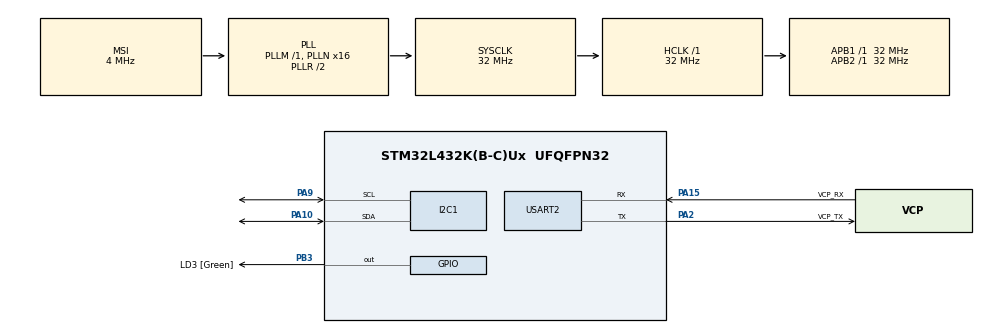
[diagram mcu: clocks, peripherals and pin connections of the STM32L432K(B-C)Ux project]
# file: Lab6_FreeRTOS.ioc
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FREERTOS.Tasks01=TimeDisplayTask,0,256,start_TimeDisplayTask,Default,NULL,Dynamic,NULL,NULL;TempDisplayTask,0,256,start_TempDisplayTask,Default,NULL,Dynamic,NULL,NULL
I2C1.Timing=0x00707CBB
Mcu.Family=STM32L4
Mcu.Name=STM32L432K(B-C)Ux
Mcu.Package=UFQFPN32
NVIC.PriorityGroup=NVIC_PRIORITYGROUP_4
NVIC.TIM1_UP_TIM16_IRQn=true\:15\:0\:false\:false\:true\:false\:false\:true\:true
NVIC.TimeBase=TIM1_UP_TIM16_IRQn
NVIC.TimeBaseIP=TIM1
NVIC.USART2_IRQn=true\:5\:0\:false\:false\:true\:true\:true\:true\:true
PA0.GPIO_Label=MCO [High speed clock in]
PA0.Signal=RCC_CK_IN
PA10.Mode=I2C
PA10.Signal=I2C1_SDA
PA13\ (JTMS-SWDIO).GPIO_Label=SWDIO
PA13\ (JTMS-SWDIO).Mode=Serial_Wire
PA13\ (JTMS-SWDIO).Signal=SYS_JTMS-SWDIO
PA14\ (JTCK-SWCLK).GPIO_Label=SWCLK
PA14\ (JTCK-SWCLK).Mode=Serial_Wire
PA14\ (JTCK-SWCLK).Signal=SYS_JTCK-SWCLK
PA15\ (JTDI).GPIO_Label=VCP_RX
PA15\ (JTDI).Mode=Asynchronous
PA15\ (JTDI).Signal=USART2_RX
PA2.GPIO_Label=VCP_TX
PA2.Mode=Asynchronous
PA2.Signal=USART2_TX
PA9.Mode=I2C
PA9.Signal=I2C1_SCL
PB3\ (JTDO-TRACESWO).GPIO_Label=LD3 [Green]
PB3\ (JTDO-TRACESWO).Signal=GPIO_Output
PC14-OSC32_IN\ (PC14).Mode=LSE-External-Oscillator
PC14-OSC32_IN\ (PC14).Signal=RCC_OSC32_IN
PC15-OSC32_OUT\ (PC15).Mode=LSE-External-Oscillator
PC15-OSC32_OUT\ (PC15).Signal=RCC_OSC32_OUT
ProjectManager.HeapSize=0x200
ProjectManager.StackSize=0x400
ProjectManager.TargetToolchain=MDK-ARM V5.32
RCC.AHBFreq_Value=32000000
RCC.APB1Freq_Value=32000000
RCC.APB1TimFreq_Value=32000000
RCC.APB2Freq_Value=32000000
RCC.APB2TimFreq_Value=32000000
RCC.CortexFreq_Value=32000000
RCC.HCLKFreq_Value=32000000
RCC.HSE_VALUE=8000000
RCC.HSI16_VALUE=16000000
RCC.HSI48_VALUE=48000000
RCC.HSI_VALUE=16000000
RCC.MSI_VALUE=4000000
RCC.PLLMUL=RCC_PLLMUL_4
RCC.PLLN=16
RCC.SYSCLKFreq_VALUE=32000000
RCC.SYSCLKSource=RCC_SYSCLKSOURCE_PLLCLK
RCC.VCOOutputFreq_Value=64000000
USART2.VirtualMode-Asynchronous=VM_ASYNC
VP_FREERTOS_VS_CMSIS_V1.Mode=CMSIS_V1
VP_SYS_VS_tim1.Mode=TIM1
board=NUCLEO-L432KC

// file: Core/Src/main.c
/* USER CODE BEGIN Header */
/**
  ******************************************************************************
  * @file           : main.c
  * @brief          : Main program body
  ******************************************************************************
  * @attention
  *
  * Copyright (c) 2025 STMicroelectronics.
  * All rights reserved.
  *
  * This software is licensed under terms that can be found in the LICENSE file
  * in the root directory of this software component.
  * If no LICENSE file comes with this software, it is provided AS-IS.
  *
  ******************************************************************************
  */
/* USER CODE END Header */
#include "main.h"
#include "cmsis_os.h"

/* USER CODE BEGIN Includes */
#include <stdio.h>
#include <string.h>
/* USER CODE END Includes */

/* USER CODE BEGIN PM */
// I2C address definitions
#define RTC_ADDR_WRITE 0xD0
#define RTC_ADDR_READ  0xD1

// RTC Register addresses
#define RTC_SECONDS_REG    0x00
#define RTC_MINUTES_REG    0x01
#define RTC_HOURS_REG      0x02
#define RTC_TEMP_MSB_REG   0x11
#define RTC_TEMP_LSB_REG   0x12

/* USER CODE END PM */

I2C_HandleTypeDef hi2c1;

UART_HandleTypeDef huart2;

osThreadId TimeDisplayTaskHandle;
osThreadId TempDisplayTaskHandle;
/* USER CODE BEGIN PV */
osMutexId uart_mutexHandle;  // Mutex for UART protection

// RTC time buffers
uint8_t secbuffer[2], minbuffer[2], hourbuffer[2];

// Temperature buffers
uint8_t temp_msb_buffer[2];
uint8_t temp_lsb_buffer[2];

// UART formatting buffers
char time_uart_buf[50];
char temp_uart_buf[50];

/* USER CODE END PV */

void SystemClock_Config(void);
static void MX_GPIO_Init(void);
static void MX_USART2_UART_Init(void);
static void MX_I2C1_Init(void);
void start_TimeDisplayTask(void const * argument);
void start_TempDisplayTask(void const * argument);

/* USER CODE BEGIN 0 */

// Check if RTC is ready
void RTC_Init(void)
{
    if (HAL_I2C_IsDeviceReady(&hi2c1, RTC_ADDR_WRITE, 10, HAL_MAX_DELAY) == HAL_OK)
    {
        // RTC detected - blink LED to indicate
        for (int i = 0; i < 6; i++)
        {
            HAL_GPIO_TogglePin(LD3_GPIO_Port, LD3_Pin);
            HAL_Delay(200);
        }
    }
}

// Set RTC time (24h format, BCD)
void RTC_SetTime(uint8_t hour, uint8_t minute, uint8_t second)
{
    uint8_t txBuf[2];

    // Set seconds
    txBuf[0] = RTC_SECONDS_REG;
    txBuf[1] = second;
    HAL_I2C_Master_Transmit(&hi2c1, RTC_ADDR_WRITE, txBuf, 2, 10);

    // Set minutes
    txBuf[0] = RTC_MINUTES_REG;
    txBuf[1] = minute;
    HAL_I2C_Master_Transmit(&hi2c1, RTC_ADDR_WRITE, txBuf, 2, 10);

    // Set hours (24h format)
    txBuf[0] = RTC_HOURS_REG;
    txBuf[1] = hour;
    HAL_I2C_Master_Transmit(&hi2c1, RTC_ADDR_WRITE, txBuf, 2, 10);
}

// Read RTC time
void RTC_ReadTime(void)
{
    // Read seconds
    secbuffer[0] = RTC_SECONDS_REG;
    HAL_I2C_Master_Transmit(&hi2c1, RTC_ADDR_WRITE, secbuffer, 1, 10);
    HAL_I2C_Master_Receive(&hi2c1, RTC_ADDR_READ, secbuffer + 1, 1, 10);

    // Read minutes
    minbuffer[0] = RTC_MINUTES_REG;
    HAL_I2C_Master_Transmit(&hi2c1, RTC_ADDR_WRITE, minbuffer, 1, 10);
    HAL_I2C_Master_Receive(&hi2c1, RTC_ADDR_READ, minbuffer + 1, 1, 10);

    // Read hours
    hourbuffer[0] = RTC_HOURS_REG;
    HAL_I2C_Master_Transmit(&hi2c1, RTC_ADDR_WRITE, hourbuffer, 1, 10);
    HAL_I2C_Master_Receive(&hi2c1, RTC_ADDR_READ, hourbuffer + 1, 1, 10);

    // Mask to 24h format
    hourbuffer[1] &= 0x3F;
}

// Read DS3231 temperature (10-bit resolution)
float RTC_ReadTemperature(void)
{
    int8_t temp_msb;
    uint8_t temp_lsb;
    float temperature;

    // Read MSB (register 0x11) - integer part, 2's complement
    temp_msb_buffer[0] = RTC_TEMP_MSB_REG;
    HAL_I2C_Master_Transmit(&hi2c1, RTC_ADDR_WRITE, temp_msb_buffer, 1, 10);
    HAL_I2C_Master_Receive(&hi2c1, RTC_ADDR_READ, temp_msb_buffer + 1, 1, 10);
    temp_msb = (int8_t)temp_msb_buffer[1];

    // Read LSB (register 0x12) - fractional part (upper 2 bits)
    temp_lsb_buffer[0] = RTC_TEMP_LSB_REG;
    HAL_I2C_Master_Transmit(&hi2c1, RTC_ADDR_WRITE, temp_lsb_buffer, 1, 10);
    HAL_I2C_Master_Receive(&hi2c1, RTC_ADDR_READ, temp_lsb_buffer + 1, 1, 10);
    temp_lsb = temp_lsb_buffer[1];

    // Combine: integer part + (fractional >> 6) * 0.25
    // Upper 2 bits of LSB represent 0.25°C increments
    temperature = (float)temp_msb + ((temp_lsb >> 6) * 0.25f);

    return temperature;
}

/* USER CODE END 0 */

int main(void)
{

  /* MCU Configuration--------------------------------------------------------*/

  /* Reset of all peripherals, Initializes the Flash interface and the Systick. */
  HAL_Init();

  /* Configure the system clock */
  SystemClock_Config();

  /* Initialize all configured peripherals */
  MX_GPIO_Init();
  MX_USART2_UART_Init();
  MX_I2C1_Init();
  /* USER CODE BEGIN 2 */

  // Initialize RTC and set initial time
  RTC_Init();

  // Set time to 14:30:00 (2:30 PM in 24h format)
  // 0x14 = 14 hours, 0x30 = 30 minutes, 0x00 = 0 seconds (BCD format)
  RTC_SetTime(0x14, 0x30, 0x00);

  /* USER CODE END 2 */

  /* USER CODE BEGIN RTOS_MUTEX */
  // Create mutex for UART protection
  osMutexDef(uart_mutex);
  uart_mutexHandle = osMutexCreate(osMutex(uart_mutex));
  /* USER CODE END RTOS_MUTEX */

  /* Create the thread(s) */
  /* definition and creation of TimeDisplayTask */
  osThreadDef(TimeDisplayTask, start_TimeDisplayTask, osPriorityNormal, 0, 256);
  TimeDisplayTaskHandle = osThreadCreate(osThread(TimeDisplayTask), NULL);

  /* definition and creation of TempDisplayTask */
  osThreadDef(TempDisplayTask, start_TempDisplayTask, osPriorityNormal, 0, 256);
  TempDisplayTaskHandle = osThreadCreate(osThread(TempDisplayTask), NULL);

  /* Start scheduler */
  osKernelStart();
  /* We should never get here as control is now taken by the scheduler */
  /* Infinite loop */
  while (1)
  {

  }
}

void SystemClock_Config(void)
{
  RCC_OscInitTypeDef RCC_OscInitStruct = {0};
  RCC_ClkInitTypeDef RCC_ClkInitStruct = {0};

  /** Configure the main internal regulator output voltage
  */
  if (HAL_PWREx_ControlVoltageScaling(PWR_REGULATOR_VOLTAGE_SCALE1) != HAL_OK)
  {
    Error_Handler();
  }

  /** Configure LSE Drive Capability
  */
  HAL_PWR_EnableBkUpAccess();
  __HAL_RCC_LSEDRIVE_CONFIG(RCC_LSEDRIVE_LOW);

  /** Initializes the RCC Oscillators according to the specified parameters
  * in the RCC_OscInitTypeDef structure.
  */
  RCC_OscInitStruct.OscillatorType = RCC_OSCILLATORTYPE_LSE|RCC_OSCILLATORTYPE_MSI;
  RCC_OscInitStruct.LSEState = RCC_LSE_ON;
  RCC_OscInitStruct.MSIState = RCC_MSI_ON;
  RCC_OscInitStruct.MSICalibrationValue = 0;
  RCC_OscInitStruct.MSIClockRange = RCC_MSIRANGE_6;
  RCC_OscInitStruct.PLL.PLLState = RCC_PLL_ON;
  RCC_OscInitStruct.PLL.PLLSource = RCC_PLLSOURCE_MSI;
  RCC_OscInitStruct.PLL.PLLM = 1;
  RCC_OscInitStruct.PLL.PLLN = 16;
  RCC_OscInitStruct.PLL.PLLP = RCC_PLLP_DIV7;
  RCC_OscInitStruct.PLL.PLLQ = RCC_PLLQ_DIV2;
  RCC_OscInitStruct.PLL.PLLR = RCC_PLLR_DIV2;
  if (HAL_RCC_OscConfig(&RCC_OscInitStruct) != HAL_OK)
  {
    Error_Handler();
  }

  /** Initializes the CPU, AHB and APB buses clocks
  */
  RCC_ClkInitStruct.ClockType = RCC_CLOCKTYPE_HCLK|RCC_CLOCKTYPE_SYSCLK
                              |RCC_CLOCKTYPE_PCLK1|RCC_CLOCKTYPE_PCLK2;
  RCC_ClkInitStruct.SYSCLKSource = RCC_SYSCLKSOURCE_PLLCLK;
  RCC_ClkInitStruct.AHBCLKDivider = RCC_SYSCLK_DIV1;
  RCC_ClkInitStruct.APB1CLKDivider = RCC_HCLK_DIV1;
  RCC_ClkInitStruct.APB2CLKDivider = RCC_HCLK_DIV1;

  if (HAL_RCC_ClockConfig(&RCC_ClkInitStruct, FLASH_LATENCY_1) != HAL_OK)
  {
    Error_Handler();
  }

  /** Enable MSI Auto calibration
  */
  HAL_RCCEx_EnableMSIPLLMode();
}

static void MX_I2C1_Init(void)
{

  hi2c1.Instance = I2C1;
  hi2c1.Init.Timing = 0x00707CBB;
  hi2c1.Init.OwnAddress1 = 0;
  hi2c1.Init.AddressingMode = I2C_ADDRESSINGMODE_7BIT;
  hi2c1.Init.DualAddressMode = I2C_DUALADDRESS_DISABLE;
  hi2c1.Init.OwnAddress2 = 0;
  hi2c1.Init.OwnAddress2Masks = I2C_OA2_NOMASK;
  hi2c1.Init.GeneralCallMode = I2C_GENERALCALL_DISABLE;
  hi2c1.Init.NoStretchMode = I2C_NOSTRETCH_DISABLE;
  if (HAL_I2C_Init(&hi2c1) != HAL_OK)
  {
    Error_Handler();
  }

  /** Configure Analogue filter
  */
  if (HAL_I2CEx_ConfigAnalogFilter(&hi2c1, I2C_ANALOGFILTER_ENABLE) != HAL_OK)
  {
    Error_Handler();
  }

  /** Configure Digital filter
  */
  if (HAL_I2CEx_ConfigDigitalFilter(&hi2c1, 0) != HAL_OK)
  {
    Error_Handler();
  }

}

static void MX_USART2_UART_Init(void)
{

  huart2.Instance = USART2;
  huart2.Init.BaudRate = 115200;
  huart2.Init.WordLength = UART_WORDLENGTH_8B;
  huart2.Init.StopBits = UART_STOPBITS_1;
  huart2.Init.Parity = UART_PARITY_NONE;
  huart2.Init.Mode = UART_MODE_TX_RX;
  huart2.Init.HwFlowCtl = UART_HWCONTROL_NONE;
  huart2.Init.OverSampling = UART_OVERSAMPLING_16;
  huart2.Init.OneBitSampling = UART_ONE_BIT_SAMPLE_DISABLE;
  huart2.AdvancedInit.AdvFeatureInit = UART_ADVFEATURE_NO_INIT;
  if (HAL_UART_Init(&huart2) != HAL_OK)
  {
    Error_Handler();
  }

}

static void MX_GPIO_Init(void)
{
  GPIO_InitTypeDef GPIO_InitStruct = {0};

  /* GPIO Ports Clock Enable */
  __HAL_RCC_GPIOC_CLK_ENABLE();
  __HAL_RCC_GPIOA_CLK_ENABLE();
  __HAL_RCC_GPIOB_CLK_ENABLE();

  /*Configure GPIO pin Output Level */
  HAL_GPIO_WritePin(LD3_GPIO_Port, LD3_Pin, GPIO_PIN_RESET);

  /*Configure GPIO pin : LD3_Pin */
  GPIO_InitStruct.Pin = LD3_Pin;
  GPIO_InitStruct.Mode = GPIO_MODE_OUTPUT_PP;
  GPIO_InitStruct.Pull = GPIO_NOPULL;
  GPIO_InitStruct.Speed = GPIO_SPEED_FREQ_LOW;
  HAL_GPIO_Init(LD3_GPIO_Port, &GPIO_InitStruct);

}

void start_TimeDisplayTask(void const * argument)
{
  /* USER CODE BEGIN 5 */
    for (;;)
    {
        // Read current time from RTC
        RTC_ReadTime();

        // Format time string (BCD to decimal conversion for display)
        sprintf(time_uart_buf, "Time: %02x:%02x:%02x\r\n",
                hourbuffer[1], minbuffer[1], secbuffer[1]);

        // Take mutex to protect UART
        osMutexWait(uart_mutexHandle, osWaitForever);

        // Transmit time string
        HAL_UART_Transmit(&huart2, (uint8_t *)time_uart_buf,
                          strlen(time_uart_buf), HAL_MAX_DELAY);

        // Release mutex
        osMutexRelease(uart_mutexHandle);

        // Delay 1 second before next update
        osDelay(1000);
    }
  /* USER CODE END 5 */
}

void start_TempDisplayTask(void const * argument)
{
  /* USER CODE BEGIN start_TempDisplayTask */
    float temperature;

    for (;;)
    {
        // Read temperature from DS3231
        temperature = RTC_ReadTemperature();

        // Format temperature string
        sprintf(temp_uart_buf, "Temp: %.2f°C\r\n", temperature);

        // Take mutex to protect UART
        osMutexWait(uart_mutexHandle, osWaitForever);

        // Transmit temperature string
        HAL_UART_Transmit(&huart2, (uint8_t *)temp_uart_buf,
                          strlen(temp_uart_buf), HAL_MAX_DELAY);

        // Release mutex
        osMutexRelease(uart_mutexHandle);

        // Delay 2 seconds before next update (different from time task)
        osDelay(2000);
    }
  /* USER CODE END start_TempDisplayTask */
}

void HAL_TIM_PeriodElapsedCallback(TIM_HandleTypeDef *htim)
{
  if (htim->Instance == TIM1) {
    HAL_IncTick();
  }
}

void Error_Handler(void)
{
  __disable_irq();
  while (1)
  {
  }
}
